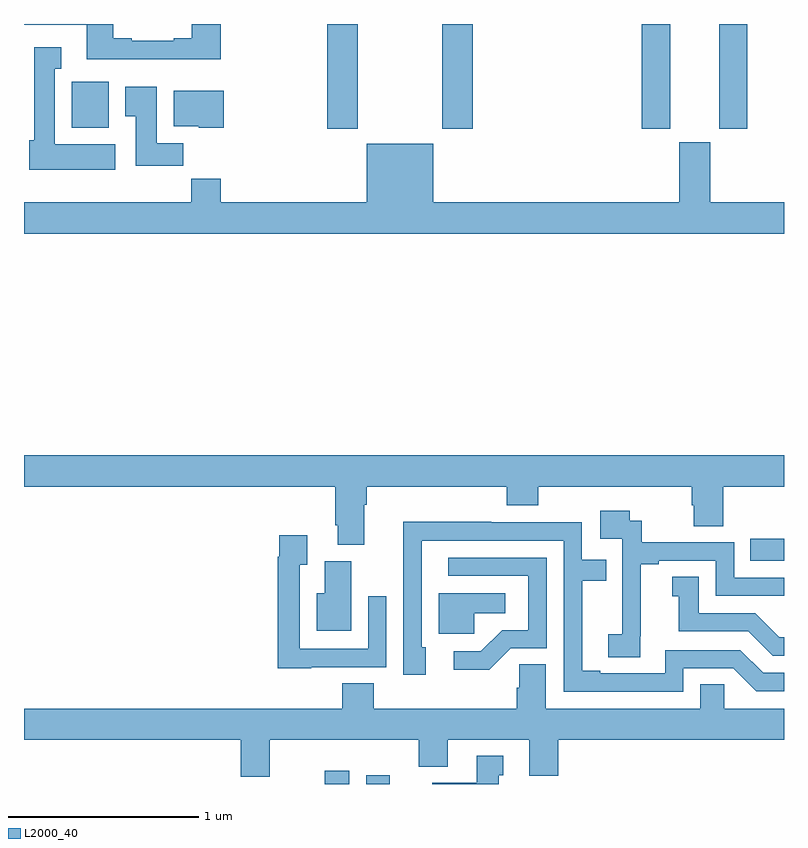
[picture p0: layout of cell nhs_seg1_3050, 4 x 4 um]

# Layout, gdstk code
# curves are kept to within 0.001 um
import gdstk
lib = gdstk.Library(unit=1e-6, precision=1e-09)
def R(c, l, rs):  # rectangles x0, y0, x1, y1
    for r in rs: c.add(gdstk.rectangle(r[:2], r[2:], *l))
def P(c, l, *ps):  # polygons
    for p in ps: c.add(gdstk.Polygon(p, *l))
L2000_40 = (2000, 40)

nhs_seg1_3050 = lib.new_cell('nhs_seg1_3050')
R(nhs_seg1_3050, L2000_40, [(278.582,518.199,278.713,518.269), (278.801,518.199,278.926,518.245), (280.822,519.375,281,519.49), (278.597,521.649,278.757,522.199), (279.202,521.649,279.362,522.199), (280.25,521.649,280.402,522.199), (280.658,521.649,280.806,522.199), (277.25,521.654,277.447,521.896)])
P(nhs_seg1_3050, L2000_40, [(278.036,522.199),(277.883,522.199),(277.883,522.124),(277.787,522.124),(277.787,522.111),(277.567,522.111),(277.567,522.124),(277.471,522.124),(277.471,522.199),(277,522.199),(277,522.195),(277.331,522.195),(277.331,522.014),(278.036,522.014)],
  [(277.48,521.566),(277.162,521.566),(277.162,521.963),(277.195,521.963),(277.195,522.076),(277.055,522.076),(277.055,521.586),(277.028,521.586),(277.028,521.432),(277.48,521.432)],
  [(277.838,521.572),(277.699,521.572),(277.699,521.869),(277.532,521.869),(277.532,521.713),(277.589,521.713),(277.589,521.454),(277.838,521.454)],
  [(278.051,521.848),(277.787,521.848),(277.787,521.66),(277.92,521.66),(277.92,521.654),(278.051,521.654)],
  [(281,521.26),(280.612,521.26),(280.612,521.577),(280.448,521.577),(280.448,521.26),(279.154,521.26),(279.154,521.569),(278.804,521.569),(278.804,521.26),(278.036,521.26),(278.036,521.384),(277.879,521.384),(277.879,521.26),(277,521.26),(277,521.096),(281,521.096)],
  [(278.791,519.668),(278.804,519.668),(278.804,519.764),(279.542,519.764),(279.542,519.665),(279.707,519.665),(279.707,519.764),(280.514,519.764),(280.514,519.666),(280.526,519.666),(280.526,519.556),(280.679,519.556),(280.679,519.764),(281,519.764),(281,519.928),(277,519.928),(277,519.764),(278.639,519.764),(278.639,519.562),(278.651,519.562),(278.651,519.457),(278.791,519.457)],
  [(280.244,518.977),(280.246,518.977),(280.246,519.355),(280.342,519.355),(280.342,519.375),(280.641,519.375),(280.641,519.189),(281,519.189),(281,519.285),(280.737,519.285),(280.737,519.471),(280.25,519.471),(280.25,519.585),(280.188,519.585),(280.188,519.637),(280.032,519.637),(280.032,519.489),(280.149,519.489),(280.149,519.185),(280.148,519.185),(280.148,518.988),(280.074,518.988),(280.074,518.866),(280.244,518.866)],
  [(280.47,518.808),(280.734,518.808),(280.854,518.688),(281,518.688),(281,518.784),(280.89,518.784),(280.77,518.904),(280.374,518.904),(280.374,518.781),(280.033,518.781),(280.033,518.796),(279.937,518.796),(279.937,519.27),(280.064,519.27),(280.064,519.378),(279.936,519.378),(279.936,519.576),(279.458,519.576),(279.458,519.578),(278.996,519.578),(278.997,518.775),(279.115,518.775),(279.115,518.919),(279.093,518.919),(279.093,519.48),(279.84,519.48),(279.84,518.685),(280.47,518.685)],
  [(278.511,518.814),(278.907,518.814),(278.907,519.187),(278.811,519.187),(278.811,518.91),(278.451,518.91),(278.451,519.352),(278.491,519.352),(278.491,519.508),(278.343,519.508),(278.343,519.395),(278.335,519.395),(278.335,518.807),(278.511,518.807)],
  [(279.561,518.913),(279.75,518.913),(279.75,519.39),(279.234,519.39),(279.234,519.294),(279.654,519.294),(279.654,519.009),(279.516,519.009),(279.405,518.898),(279.261,518.898),(279.261,518.801),(279.448,518.801)],
  [(278.722,519.371),(278.582,519.371),(278.582,519.202),(278.54,519.202),(278.54,519.005),(278.722,519.005)],
  [(281,518.971),(280.976,518.971),(280.848,519.099),(280.552,519.099),(280.552,519.29),(280.412,519.29),(280.412,519.187),(280.445,519.187),(280.445,519.003),(280.812,519.003),(280.941,518.874),(281,518.874)],
  [(279.369,519.098),(279.532,519.098),(279.532,519.202),(279.182,519.202),(279.182,518.991),(279.369,518.991)],
  [(278.293,518.432),(279.077,518.432),(279.077,518.291),(279.229,518.291),(279.229,518.432),(279.659,518.432),(279.659,518.243),(279.812,518.243),(279.812,518.432),(281,518.432),(281,518.596),(280.686,518.596),(280.686,518.723),(280.559,518.723),(280.559,518.596),(279.745,518.596),(279.745,518.828),(279.606,518.828),(279.606,518.705),(279.593,518.705),(279.593,518.596),(278.84,518.596),(278.84,518.729),(278.675,518.729),(278.675,518.596),(277,518.596),(277,518.432),(278.141,518.432),(278.141,518.238),(278.293,518.238)],
  [(279.499,518.244),(279.523,518.244),(279.523,518.347),(279.383,518.347),(279.383,518.206),(279.148,518.206),(279.148,518.199),(279.499,518.199)])

lib.write_gds('nhs_seg1_3050.gds')
